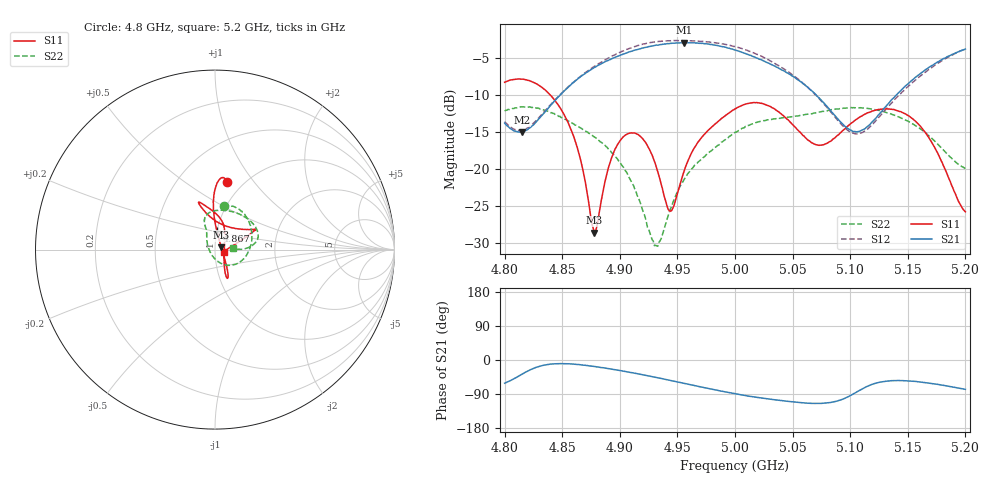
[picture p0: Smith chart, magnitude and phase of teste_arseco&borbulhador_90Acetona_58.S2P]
! Network Analyzer HP8722D
! Hewlett-Packard
! Data name: Linha & Wilkinson
! Saver's name: Rodrigo Anjos
! Comments: Teste da utilização de aquisição
! continua pelo VNA HP8722D
! Time and date: 17/4/2025 11:32
!  Frequency  S11  S21  S12  S22
# HZ  S  MA R 50
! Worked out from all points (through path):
!   401 points, 4.8 GHz to 5.2 GHz, reference 50 ohm
!   highest |S21| = -2.98 dB at 4.956 GHz (marker M1); lowest = -15.1 dB at 4.815 GHz (marker M2)
!   lowest |S11| = -28.6 dB at 4.878 GHz (marker M3), VSWR 1.08, Z = 53.6 + j1.32 ohm
!   |S11| at or under -10 dB: 4.839 GHz to end of sweep
!   |S22| runs from -30.4 to -11.6 dB; largest |S21 - S12| = 1.4
!   S11 on the Smith chart (normalised r, x): 4.8 GHz: 0.84, +0.75; 4.867 GHz: 1.00, +0.21; 5.2 GHz: 1.10, -0.03
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4.8e9  0.3837 80.0  0.2035 -61.2  0.208 73.8  0.246 78.3
4.815e9  0.4025 84.4  0.1767 -37.7  0.1819 95.4  0.2621 65.7
4.846e9  0.2734 91.8  0.3021 -9.6  0.3042 123.2  0.2293 27.3
4.858e9  0.181 91.4  0.3728 -10.4  0.3742 124.2  0.2048 9.7
4.867e9  0.106 84.6  0.424 -13.1  0.4261 123.3  0.1867 -3.9
4.878e9  0.03708 19.3  0.483 -17.2  0.492 121.3  0.164 -20.6
4.892e9  0.1128 -55.4  0.5474 -23.6  0.5685 116.8  0.1316 -40.4
4.904e9  0.1668 -64.3  0.5977 -29.9  0.6281 111.9  0.1009 -57.1
4.92e9  0.1592 -67.4  0.6526 -39.1  0.6951 103.1  0.05202 -90.0
4.929e9  0.1182 -63.3  0.6757 -44.5  0.716 97.6  0.03262 -134.9
4.934e9  0.08965 -55.6  0.6856 -47.6  0.7251 94.3  0.03193 -171.0
4.944e9  0.05177 -2.1  0.7021 -54.0  0.7305 87.9  0.05375 142.6
4.956e9  0.09713 55.9  0.7099 -61.7  0.7323 80.3  0.08527 122.7
4.971e9  0.1625 76.0  0.7013 -71.6  0.7232 70.6  0.1168 113.9
5e9  0.2535 103.2  0.6338 -89.2  0.6686 51.7  0.1765 109.8
5.029e9  0.2667 109.1  0.5167 -102.9  0.5443 35.7  0.2141 93.3
5.067e9  0.1496 80.9  0.3345 -114.4  0.3334 26.3  0.2354 59.6
5.081e9  0.1504 55.2  0.2575 -112.9  0.2532 29.2  0.2483 46.0
5.104e9  0.2119 32.0  0.1788 -87.3  0.1725 56.8  0.2583 26.8
5.134e9  0.2532 26.2  0.28 -55.0  0.2676 91.0  0.2367 11.4
5.164e9  0.1805 21.8  0.4569 -59.2  0.4414 88.4  0.1784 2.7
5.2e9  0.0513 -16.8  0.6429 -77.4  0.6433 71.6  0.1004 4.5
